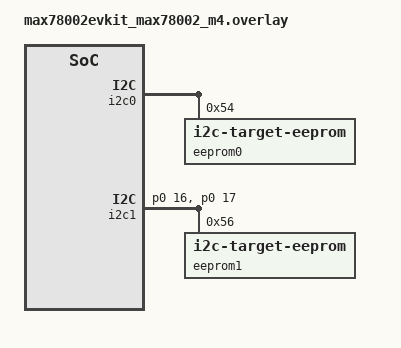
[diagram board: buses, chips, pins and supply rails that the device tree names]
/*
 * Copyright (c) 2024 Analog Devices, Inc.
 *
 * SPDX-License-Identifier: Apache-2.0
 */

&i2c0 {
	dmas = <&dma0 0 MAX78_DMA_SLOT_I2C0_TX>, <&dma0 1 MAX78_DMA_SLOT_I2C0_RX>;
	dma-names = "tx", "rx";

	eeprom0: eeprom@54 {
		compatible = "zephyr,i2c-target-eeprom";
		reg = <0x54>;
		address-width = <16>;
		size = <1024>;
	};
};

&i2c1 {
	status = "okay";
	pinctrl-0 = <&i2c1_scl_p0_16 &i2c1_sda_p0_17>;
	pinctrl-names = "default";

	dmas = <&dma0 2 MAX78_DMA_SLOT_I2C1_TX>, <&dma0 3 MAX78_DMA_SLOT_I2C1_RX>;
	dma-names = "tx", "rx";

	eeprom1: eeprom@56 {
		compatible = "zephyr,i2c-target-eeprom";
		reg = <0x56>;
		address-width = <16>;
		size = <1024>;
	};
};
